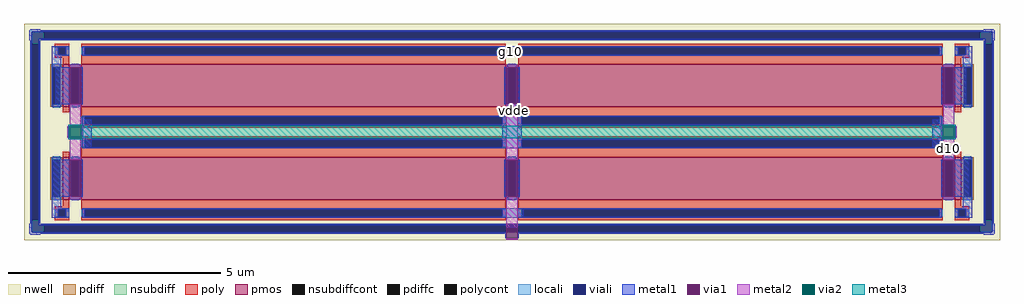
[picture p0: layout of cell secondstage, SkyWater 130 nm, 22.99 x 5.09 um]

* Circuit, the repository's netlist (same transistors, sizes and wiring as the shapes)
** sch_path: /foss/designs/sky130_gff_ip__bgr_1.2v/magic/secondstage.sch
.subckt secondstage vdde g10 d10
*.PININFO vdde:B g10:B d10:B
XM10 d10 g10 vdde vdde sky130_fd_pr__pfet_01v8 L=10 W=1 nf=1 m=4
XM1 d10 d10 d10 vdde sky130_fd_pr__pfet_01v8 L=0.15 W=1 nf=1 m=4
.ends

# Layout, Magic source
magic
tech sky130A
magscale 1 2
<< nwell >>
rect -172 -89 4426 929
<< nsubdiff >>
rect -136 859 -76 893
rect 4330 859 4390 893
rect -136 833 -102 859
rect 4356 833 4390 859
rect -136 -19 -102 7
rect 4356 -19 4390 7
rect -136 -53 -76 -19
rect 4330 -53 4390 -19
<< nsubdiffcont >>
rect -76 859 4330 893
rect -136 7 -102 833
rect 4356 7 4390 833
rect -76 -53 4330 -19
<< poly >>
rect -26 819 40 835
rect -26 785 -10 819
rect 24 785 40 819
rect -26 769 40 785
rect 10 756 40 769
rect 4214 819 4280 835
rect 4214 785 4230 819
rect 4264 785 4280 819
rect 4214 769 4280 785
rect 4214 738 4244 769
rect 10 71 40 93
rect -26 55 40 71
rect -26 21 -10 55
rect 24 21 40 55
rect -26 5 40 21
rect 4214 71 4244 102
rect 4214 55 4280 71
rect 4214 21 4230 55
rect 4264 21 4280 55
rect 4214 5 4280 21
<< polycont >>
rect -10 785 24 819
rect 4230 785 4264 819
rect -10 21 24 55
rect 4230 21 4264 55
<< locali >>
rect -26 785 -10 819
rect 24 785 40 819
rect 4214 785 4230 819
rect 4264 785 4280 819
rect -26 21 -10 55
rect 24 21 40 55
rect 4214 21 4230 55
rect 4264 21 4280 55
<< viali >>
rect -136 859 -76 893
rect -76 859 4330 893
rect 4330 859 4390 893
rect -136 833 -102 859
rect -136 7 -102 833
rect 4356 833 4390 859
rect -10 785 24 819
rect 4230 785 4264 819
rect -10 21 24 55
rect 4230 21 4264 55
rect -136 -19 -102 7
rect 4356 7 4390 833
rect 4356 -19 4390 7
rect -136 -53 -76 -19
rect -76 -53 4330 -19
rect 4330 -53 4390 -19
<< metal1 >>
rect -142 899 -96 905
rect 4350 899 4396 905
rect -148 893 4402 899
rect -148 853 -136 893
rect -142 -13 -136 853
rect -148 -53 -136 -13
rect -102 853 4356 859
rect -102 -13 -96 853
rect -42 819 40 825
rect -42 785 -10 819
rect 24 785 40 819
rect -42 779 40 785
rect 2074 779 2172 825
rect 4214 819 4296 825
rect 4214 785 4230 819
rect 4264 785 4296 819
rect 4214 779 4296 785
rect -42 731 4 779
rect 4250 738 4296 779
rect -24 550 43 726
rect 95 550 105 726
rect 2091 550 2101 726
rect 2153 550 2163 726
rect 4149 550 4159 726
rect 4211 550 4268 726
rect 102 343 148 480
rect 2082 343 2172 497
rect 4106 343 4152 480
rect -42 114 43 290
rect 95 114 105 290
rect 2091 114 2101 290
rect 2153 114 2163 290
rect 4149 114 4159 290
rect 4211 114 4281 290
rect -42 61 4 114
rect 4250 61 4296 102
rect -42 55 40 61
rect -42 21 -10 55
rect 24 21 40 55
rect -42 15 40 21
rect 2084 15 2182 61
rect 4214 55 4296 61
rect 4214 21 4230 55
rect 4264 21 4296 55
rect 4214 15 4296 21
rect 4350 -13 4356 853
rect -102 -19 4356 -13
rect 4390 853 4402 893
rect 4390 -13 4396 853
rect 4390 -53 4402 -13
rect -148 -59 2101 -53
rect -142 -65 -96 -59
rect 2095 -81 2101 -59
rect 2153 -59 4402 -53
rect 2153 -81 2159 -59
rect 4350 -65 4396 -59
<< via1 >>
rect 43 550 95 726
rect 2101 550 2153 726
rect 4159 550 4211 726
rect 43 114 95 290
rect 2101 114 2153 290
rect 4159 114 4211 290
rect 2101 -53 2153 -29
rect 2101 -81 2153 -53
<< metal2 >>
rect 43 726 95 736
rect 43 448 95 550
rect 2101 726 2153 736
rect 32 392 41 448
rect 97 392 106 448
rect 43 290 95 392
rect 43 104 95 114
rect 2101 290 2153 550
rect 4159 726 4211 736
rect 4159 448 4211 550
rect 4148 392 4157 448
rect 4213 392 4222 448
rect 2101 -29 2153 114
rect 4159 290 4211 392
rect 4159 104 4211 114
rect 2101 -87 2153 -81
<< via2 >>
rect 41 392 97 448
rect 4157 392 4213 448
<< metal3 >>
rect 36 450 102 453
rect 4152 450 4218 453
rect 36 448 4218 450
rect 36 392 41 448
rect 97 392 4157 448
rect 4213 392 4218 448
rect 36 390 4218 392
rect 36 387 102 390
rect 4152 387 4218 390
use sky130_fd_pr__pfet_01v8_LDV24K  sky130_fd_pr__pfet_01v8_LDV24K_0
transform 1 0 2127 0 1 420
box -2123 -418 2123 418
use sky130_fd_pr__pfet_01v8_P4G5X4  sky130_fd_pr__pfet_01v8_P4G5X4_0
transform 1 0 4229 0 1 638
box -109 -162 109 162
use sky130_fd_pr__pfet_01v8_P4G5X4  sky130_fd_pr__pfet_01v8_P4G5X4_1
transform 1 0 4229 0 1 202
box -109 -162 109 162
use sky130_fd_pr__pfet_01v8_P4G5X4  sky130_fd_pr__pfet_01v8_P4G5X4_2
transform 1 0 25 0 1 202
box -109 -162 109 162
use sky130_fd_pr__pfet_01v8_P4G5X4  sky130_fd_pr__pfet_01v8_P4G5X4_3
transform 1 0 25 0 1 638
box -109 -162 109 162
<< labels >>
flabel metal2 2133 519 2133 519 0 FreeSans 160 0 0 0 vdde
port 2 nsew
flabel metal1 2120 797 2120 797 0 FreeSans 160 0 0 0 g10
port 0 nsew
flabel metal2 4182 340 4182 340 0 FreeSans 160 0 0 0 d10
port 4 nsew
<< end >>

# cell sky130_fd_pr__pfet_01v8_LDV24K: kit device sky130_fd_pr__pfet_01v8, w 1 l 10 m 2 nf 2 diffcov 100 polycov 100 guard 0 glc 1 grc 1 gtc 1 gbc 1 tbcov 100 rlcov 100 topc 1 botc 1 poverlap 0 doverlap 1 lmin 0.15 wmin 0.42 class mosfet compatible {sky130_fd_pr__pfet_01v8 sky130_fd_pr__pfet_01v8_lvt sky130_fd_pr__pfet_01v8_hvt sky130_fd_pr__pfet_g5v0d10v5} full_metal 1 conn_gates 0 viasrc 100 viadrn 100 viagate 100 viagb 0 viagr 0 viagl 0 viagt 0 doports 1

# cell sky130_fd_pr__pfet_01v8_P4G5X4: kit device sky130_fd_pr__pfet_01v8, w 1 l 0.15 m 1 nf 1 diffcov 100 polycov 100 guard 0 glc 1 grc 1 gtc 1 gbc 1 tbcov 100 rlcov 100 topc 0 botc 0 poverlap 0 doverlap 1 lmin 0.15 wmin 0.42 class mosfet compatible {sky130_fd_pr__pfet_01v8 sky130_fd_pr__pfet_01v8_lvt sky130_fd_pr__pfet_01v8_hvt sky130_fd_pr__pfet_g5v0d10v5} full_metal 1 conn_gates 0 viasrc 100 viadrn 100 viagate 100 viagb 0 viagr 0 viagl 0 viagt 0 doports 1
